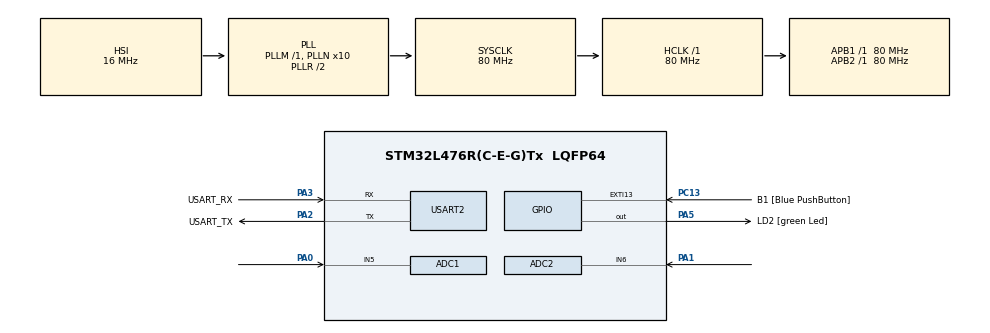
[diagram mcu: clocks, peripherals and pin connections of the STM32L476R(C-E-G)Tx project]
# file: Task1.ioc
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ADC1.Channel-1\#ChannelRegularConversion=ADC_CHANNEL_5
ADC1.NbrOfConversionFlag=1
ADC1.OffsetNumber-1\#ChannelRegularConversion=ADC_OFFSET_NONE
ADC1.Rank-1\#ChannelRegularConversion=1
ADC1.SamplingTime-1\#ChannelRegularConversion=ADC_SAMPLETIME_24CYCLES_5
ADC1.master=1
ADC2.Channel-0\#ChannelRegularConversion=ADC_CHANNEL_6
ADC2.NbrOfConversionFlag=1
ADC2.OffsetNumber-0\#ChannelRegularConversion=ADC_OFFSET_NONE
ADC2.Rank-0\#ChannelRegularConversion=1
ADC2.Resolution=ADC_RESOLUTION_8B
ADC2.SamplingTime-0\#ChannelRegularConversion=ADC_SAMPLETIME_24CYCLES_5
Mcu.Family=STM32L4
Mcu.Name=STM32L476R(C-E-G)Tx
Mcu.Package=LQFP64
NVIC.ADC1_2_IRQn=true\:0\:0\:false\:false\:true\:true\:true\:true
NVIC.PriorityGroup=NVIC_PRIORITYGROUP_4
NVIC.TIM2_IRQn=true\:0\:0\:false\:false\:true\:true\:true\:true
PA0.Signal=ADCx_IN5
PA1.Signal=ADCx_IN6
PA13\ (JTMS-SWDIO).GPIO_Label=TMS
PA13\ (JTMS-SWDIO).Mode=Serial_Wire
PA13\ (JTMS-SWDIO).Signal=SYS_JTMS-SWDIO
PA14\ (JTCK-SWCLK).GPIO_Label=TCK
PA14\ (JTCK-SWCLK).Mode=Serial_Wire
PA14\ (JTCK-SWCLK).Signal=SYS_JTCK-SWCLK
PA2.GPIO_Label=USART_TX
PA2.GPIO_Mode=GPIO_MODE_AF_PP
PA2.GPIO_PuPd=GPIO_NOPULL
PA2.GPIO_Speed=GPIO_SPEED_FREQ_VERY_HIGH
PA2.Mode=Asynchronous
PA2.Signal=USART2_TX
PA3.GPIO_Label=USART_RX
PA3.GPIO_Mode=GPIO_MODE_AF_PP
PA3.GPIO_PuPd=GPIO_NOPULL
PA3.GPIO_Speed=GPIO_SPEED_FREQ_VERY_HIGH
PA3.Mode=Asynchronous
PA3.Signal=USART2_RX
PA5.GPIO_Label=LD2 [green Led]
PA5.GPIO_ModeDefaultOutputPP=GPIO_MODE_OUTPUT_PP
PA5.GPIO_PuPd=GPIO_NOPULL
PA5.GPIO_Speed=GPIO_SPEED_FREQ_LOW
PA5.Signal=GPIO_Output
PB3\ (JTDO-TRACESWO).GPIO_Label=SWO
PB3\ (JTDO-TRACESWO).Signal=SYS_JTDO-SWO
PC13.GPIO_Label=B1 [Blue PushButton]
PC13.GPIO_ModeDefaultEXTI=GPIO_MODE_IT_FALLING
PC13.GPIO_PuPd=GPIO_NOPULL
PC13.Signal=GPXTI13
PC14-OSC32_IN\ (PC14).Mode=LSE-External-Oscillator
PC14-OSC32_IN\ (PC14).Signal=RCC_OSC32_IN
PC15-OSC32_OUT\ (PC15).Mode=LSE-External-Oscillator
PC15-OSC32_OUT\ (PC15).Signal=RCC_OSC32_OUT
PH0-OSC_IN\ (PH0).Signal=RCC_OSC_IN
PH1-OSC_OUT\ (PH1).Signal=RCC_OSC_OUT
ProjectManager.HeapSize=0x200
ProjectManager.StackSize=0x400
ProjectManager.TargetToolchain=CMake
RCC.ADCFreq_Value=64000000
RCC.AHBFreq_Value=80000000
RCC.APB1Freq_Value=80000000
RCC.APB1TimFreq_Value=80000000
RCC.APB2Freq_Value=80000000
RCC.APB2TimFreq_Value=80000000
RCC.CortexFreq_Value=80000000
RCC.HCLKFreq_Value=80000000
RCC.HSE_VALUE=8000000
RCC.HSI_VALUE=16000000
RCC.MSI_VALUE=4000000
RCC.PLLN=10
RCC.PLLSourceVirtual=RCC_PLLSOURCE_HSI
RCC.PREFETCH_ENABLE=1
RCC.SYSCLKFreq_VALUE=80000000
RCC.SYSCLKSource=RCC_SYSCLKSOURCE_PLLCLK
RCC.USBFreq_Value=64000000
RCC.VCOOutputFreq_Value=160000000
SH.ADCx_IN5.0=ADC1_IN5,IN5-Single-Ended
SH.ADCx_IN6.0=ADC2_IN6,IN6-Single-Ended
TIM2.Period=9999
TIM2.Prescaler=7999
USART2.VirtualMode-Asynchronous=VM_ASYNC
VP_TIM2_VS_ClockSourceINT.Mode=Internal
board=NUCLEO-L476RG

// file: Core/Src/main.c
/* USER CODE BEGIN Header */
/**
 ******************************************************************************
 * @file           : main.c
 * @brief          : Main program body
 ******************************************************************************
 * @attention
 *
 * Copyright (c) 2026 STMicroelectronics.
 * All rights reserved.
 *
 * This software is licensed under terms that can be found in the LICENSE file
 * in the root directory of this software component.
 * If no LICENSE file comes with this software, it is provided AS-IS.
 *
 ******************************************************************************
 */
/* USER CODE END Header */

#include "main.h"

/* USER CODE BEGIN Includes */
#include "light_sensor.h"
#include "potentiometer.h"
#include <stdio.h>

/* USER CODE END Includes */

ADC_HandleTypeDef hadc1;
ADC_HandleTypeDef hadc2;

TIM_HandleTypeDef htim2;

UART_HandleTypeDef huart2;

/* USER CODE BEGIN PV */
static Potentiometer pot;
static LightSensor light;
static volatile uint8_t print_flag;
/* USER CODE END PV */

void SystemClock_Config(void);
void PeriphCommonClock_Config(void);
static void MX_GPIO_Init(void);
static void MX_ADC1_Init(void);
static void MX_TIM2_Init(void);
static void MX_USART2_UART_Init(void);
static void MX_ADC2_Init(void);

int main(void)
{

    HAL_Init();

    SystemClock_Config();

    PeriphCommonClock_Config();

    MX_GPIO_Init();
    MX_ADC1_Init();
    MX_TIM2_Init();
    MX_USART2_UART_Init();
    MX_ADC2_Init();

    /* USER CODE BEGIN 2 */
    setvbuf(stdout, NULL, _IONBF, 0);
    Potentiometer_Init(&pot, &hadc1);
    LightSensor_Init(&light, &hadc2);
    LightSensor_Start(&light);
    HAL_TIM_Base_Start_IT(&htim2);
    /* USER CODE END 2 */

    /* USER CODE BEGIN WHILE */
    while (1)
    {
        /* USER CODE BEGIN 3 */
        Potentiometer_Read(&pot);
        LightSensor_Start(&light);
        if (0U != print_flag)
        {
            print_flag = 0U;
            printf("Potentiometer: %lu  Light: %lu\r\n",
                   (unsigned long)Potentiometer_GetValue(&pot),
                   (unsigned long)LightSensor_GetValue(&light));
        }
        /* USER CODE END 3 */
    }
}

void SystemClock_Config(void)
{
    RCC_OscInitTypeDef RCC_OscInitStruct = {0};
    RCC_ClkInitTypeDef RCC_ClkInitStruct = {0};

    if (HAL_PWREx_ControlVoltageScaling(PWR_REGULATOR_VOLTAGE_SCALE1) != HAL_OK)
    {
        Error_Handler();
    }

    RCC_OscInitStruct.OscillatorType = RCC_OSCILLATORTYPE_HSI;
    RCC_OscInitStruct.HSIState = RCC_HSI_ON;
    RCC_OscInitStruct.HSICalibrationValue = RCC_HSICALIBRATION_DEFAULT;
    RCC_OscInitStruct.PLL.PLLState = RCC_PLL_ON;
    RCC_OscInitStruct.PLL.PLLSource = RCC_PLLSOURCE_HSI;
    RCC_OscInitStruct.PLL.PLLM = 1;
    RCC_OscInitStruct.PLL.PLLN = 10;
    RCC_OscInitStruct.PLL.PLLP = RCC_PLLP_DIV7;
    RCC_OscInitStruct.PLL.PLLQ = RCC_PLLQ_DIV2;
    RCC_OscInitStruct.PLL.PLLR = RCC_PLLR_DIV2;
    if (HAL_RCC_OscConfig(&RCC_OscInitStruct) != HAL_OK)
    {
        Error_Handler();
    }

    RCC_ClkInitStruct.ClockType = RCC_CLOCKTYPE_HCLK | RCC_CLOCKTYPE_SYSCLK |
                                  RCC_CLOCKTYPE_PCLK1 | RCC_CLOCKTYPE_PCLK2;
    RCC_ClkInitStruct.SYSCLKSource = RCC_SYSCLKSOURCE_PLLCLK;
    RCC_ClkInitStruct.AHBCLKDivider = RCC_SYSCLK_DIV1;
    RCC_ClkInitStruct.APB1CLKDivider = RCC_HCLK_DIV1;
    RCC_ClkInitStruct.APB2CLKDivider = RCC_HCLK_DIV1;
    if (HAL_RCC_ClockConfig(&RCC_ClkInitStruct, FLASH_LATENCY_4) != HAL_OK)
    {
        Error_Handler();
    }
}

void PeriphCommonClock_Config(void)
{
    RCC_PeriphCLKInitTypeDef PeriphClkInit = {0};

    PeriphClkInit.PeriphClockSelection = RCC_PERIPHCLK_ADC;
    PeriphClkInit.AdcClockSelection = RCC_ADCCLKSOURCE_PLLSAI1;
    PeriphClkInit.PLLSAI1.PLLSAI1Source = RCC_PLLSOURCE_HSI;
    PeriphClkInit.PLLSAI1.PLLSAI1M = 1;
    PeriphClkInit.PLLSAI1.PLLSAI1N = 8;
    PeriphClkInit.PLLSAI1.PLLSAI1P = RCC_PLLP_DIV7;
    PeriphClkInit.PLLSAI1.PLLSAI1Q = RCC_PLLQ_DIV2;
    PeriphClkInit.PLLSAI1.PLLSAI1R = RCC_PLLR_DIV2;
    PeriphClkInit.PLLSAI1.PLLSAI1ClockOut = RCC_PLLSAI1_ADC1CLK;
    if (HAL_RCCEx_PeriphCLKConfig(&PeriphClkInit) != HAL_OK)
    {
        Error_Handler();
    }
}

static void MX_ADC1_Init(void)
{

    ADC_MultiModeTypeDef multimode = {0};
    ADC_ChannelConfTypeDef sConfig = {0};

    hadc1.Instance = ADC1;
    hadc1.Init.ClockPrescaler = ADC_CLOCK_ASYNC_DIV1;
    hadc1.Init.Resolution = ADC_RESOLUTION_12B;
    hadc1.Init.DataAlign = ADC_DATAALIGN_RIGHT;
    hadc1.Init.ScanConvMode = ADC_SCAN_DISABLE;
    hadc1.Init.EOCSelection = ADC_EOC_SINGLE_CONV;
    hadc1.Init.LowPowerAutoWait = DISABLE;
    hadc1.Init.ContinuousConvMode = DISABLE;
    hadc1.Init.NbrOfConversion = 1;
    hadc1.Init.DiscontinuousConvMode = DISABLE;
    hadc1.Init.ExternalTrigConv = ADC_SOFTWARE_START;
    hadc1.Init.ExternalTrigConvEdge = ADC_EXTERNALTRIGCONVEDGE_NONE;
    hadc1.Init.DMAContinuousRequests = DISABLE;
    hadc1.Init.Overrun = ADC_OVR_DATA_PRESERVED;
    hadc1.Init.OversamplingMode = DISABLE;
    if (HAL_ADC_Init(&hadc1) != HAL_OK)
    {
        Error_Handler();
    }

    multimode.Mode = ADC_MODE_INDEPENDENT;
    if (HAL_ADCEx_MultiModeConfigChannel(&hadc1, &multimode) != HAL_OK)
    {
        Error_Handler();
    }

    sConfig.Channel = ADC_CHANNEL_5;
    sConfig.Rank = ADC_REGULAR_RANK_1;
    sConfig.SamplingTime = ADC_SAMPLETIME_24CYCLES_5;
    sConfig.SingleDiff = ADC_SINGLE_ENDED;
    sConfig.OffsetNumber = ADC_OFFSET_NONE;
    sConfig.Offset = 0;
    if (HAL_ADC_ConfigChannel(&hadc1, &sConfig) != HAL_OK)
    {
        Error_Handler();
    }

}

static void MX_ADC2_Init(void)
{

    ADC_ChannelConfTypeDef sConfig = {0};

    hadc2.Instance = ADC2;
    hadc2.Init.ClockPrescaler = ADC_CLOCK_ASYNC_DIV1;
    hadc2.Init.Resolution = ADC_RESOLUTION_8B;
    hadc2.Init.DataAlign = ADC_DATAALIGN_RIGHT;
    hadc2.Init.ScanConvMode = ADC_SCAN_DISABLE;
    hadc2.Init.EOCSelection = ADC_EOC_SINGLE_CONV;
    hadc2.Init.LowPowerAutoWait = DISABLE;
    hadc2.Init.ContinuousConvMode = DISABLE;
    hadc2.Init.NbrOfConversion = 1;
    hadc2.Init.DiscontinuousConvMode = DISABLE;
    hadc2.Init.ExternalTrigConv = ADC_SOFTWARE_START;
    hadc2.Init.ExternalTrigConvEdge = ADC_EXTERNALTRIGCONVEDGE_NONE;
    hadc2.Init.DMAContinuousRequests = DISABLE;
    hadc2.Init.Overrun = ADC_OVR_DATA_PRESERVED;
    hadc2.Init.OversamplingMode = DISABLE;
    if (HAL_ADC_Init(&hadc2) != HAL_OK)
    {
        Error_Handler();
    }

    sConfig.Channel = ADC_CHANNEL_6;
    sConfig.Rank = ADC_REGULAR_RANK_1;
    sConfig.SamplingTime = ADC_SAMPLETIME_24CYCLES_5;
    sConfig.SingleDiff = ADC_SINGLE_ENDED;
    sConfig.OffsetNumber = ADC_OFFSET_NONE;
    sConfig.Offset = 0;
    if (HAL_ADC_ConfigChannel(&hadc2, &sConfig) != HAL_OK)
    {
        Error_Handler();
    }

}

static void MX_TIM2_Init(void)
{

    TIM_ClockConfigTypeDef sClockSourceConfig = {0};
    TIM_MasterConfigTypeDef sMasterConfig = {0};

    htim2.Instance = TIM2;
    htim2.Init.Prescaler = 7999;
    htim2.Init.CounterMode = TIM_COUNTERMODE_UP;
    htim2.Init.Period = 9999;
    htim2.Init.ClockDivision = TIM_CLOCKDIVISION_DIV1;
    htim2.Init.AutoReloadPreload = TIM_AUTORELOAD_PRELOAD_DISABLE;
    if (HAL_TIM_Base_Init(&htim2) != HAL_OK)
    {
        Error_Handler();
    }
    sClockSourceConfig.ClockSource = TIM_CLOCKSOURCE_INTERNAL;
    if (HAL_TIM_ConfigClockSource(&htim2, &sClockSourceConfig) != HAL_OK)
    {
        Error_Handler();
    }
    sMasterConfig.MasterOutputTrigger = TIM_TRGO_RESET;
    sMasterConfig.MasterSlaveMode = TIM_MASTERSLAVEMODE_DISABLE;
    if (HAL_TIMEx_MasterConfigSynchronization(&htim2, &sMasterConfig) != HAL_OK)
    {
        Error_Handler();
    }

}

static void MX_USART2_UART_Init(void)
{

    huart2.Instance = USART2;
    huart2.Init.BaudRate = 115200;
    huart2.Init.WordLength = UART_WORDLENGTH_8B;
    huart2.Init.StopBits = UART_STOPBITS_1;
    huart2.Init.Parity = UART_PARITY_NONE;
    huart2.Init.Mode = UART_MODE_TX_RX;
    huart2.Init.HwFlowCtl = UART_HWCONTROL_NONE;
    huart2.Init.OverSampling = UART_OVERSAMPLING_16;
    huart2.Init.OneBitSampling = UART_ONE_BIT_SAMPLE_DISABLE;
    huart2.AdvancedInit.AdvFeatureInit = UART_ADVFEATURE_NO_INIT;
    if (HAL_UART_Init(&huart2) != HAL_OK)
    {
        Error_Handler();
    }

}

static void MX_GPIO_Init(void)
{
    GPIO_InitTypeDef GPIO_InitStruct = {0};

    __HAL_RCC_GPIOC_CLK_ENABLE();
    __HAL_RCC_GPIOH_CLK_ENABLE();
    __HAL_RCC_GPIOA_CLK_ENABLE();
    __HAL_RCC_GPIOB_CLK_ENABLE();

    HAL_GPIO_WritePin(LD2_GPIO_Port, LD2_Pin, GPIO_PIN_RESET);

    GPIO_InitStruct.Pin = B1_Pin;
    GPIO_InitStruct.Mode = GPIO_MODE_IT_FALLING;
    GPIO_InitStruct.Pull = GPIO_NOPULL;
    HAL_GPIO_Init(B1_GPIO_Port, &GPIO_InitStruct);

    GPIO_InitStruct.Pin = LD2_Pin;
    GPIO_InitStruct.Mode = GPIO_MODE_OUTPUT_PP;
    GPIO_InitStruct.Pull = GPIO_NOPULL;
    GPIO_InitStruct.Speed = GPIO_SPEED_FREQ_LOW;
    HAL_GPIO_Init(LD2_GPIO_Port, &GPIO_InitStruct);

}

/* USER CODE BEGIN 4 */
void HAL_TIM_PeriodElapsedCallback(TIM_HandleTypeDef *htim)
{
    if (&htim2 == htim)
    {
        print_flag = 1U;
    }
}

void HAL_ADC_ConvCpltCallback(ADC_HandleTypeDef *hadc)
{
    if (ADC2 == hadc->Instance)
    {
        LightSensor_OnConversionComplete(&light);
    }
}

int __io_putchar(int ch)
{
    HAL_UART_Transmit(&huart2, (uint8_t *)&ch, 1U, HAL_MAX_DELAY);
    return ch;
}
/* USER CODE END 4 */

void Error_Handler(void)
{
    __disable_irq();
    while (1)
    {
    }
}
